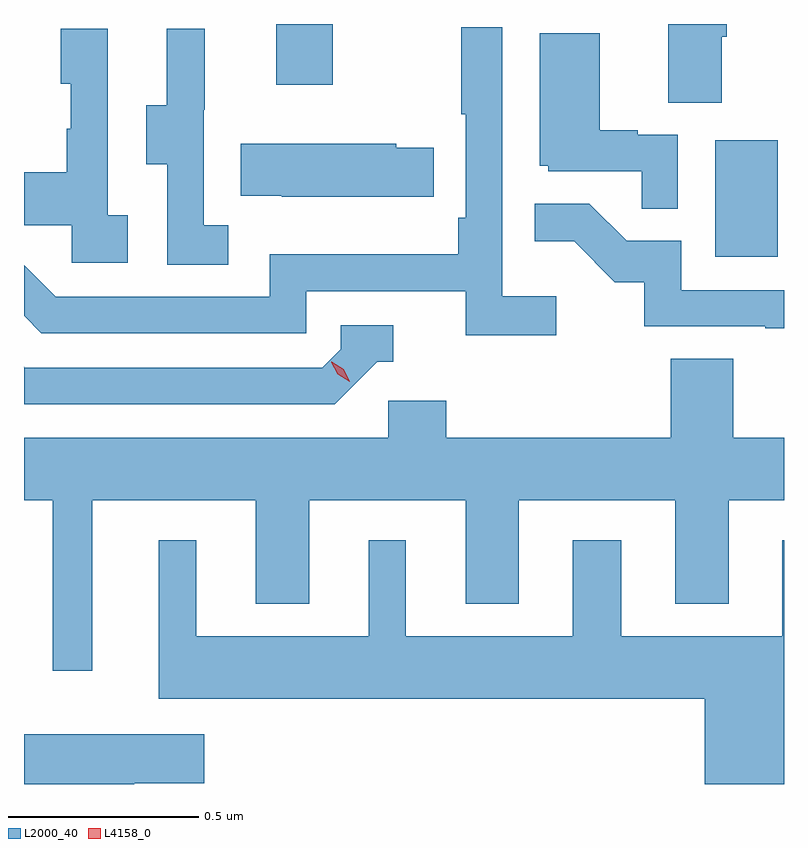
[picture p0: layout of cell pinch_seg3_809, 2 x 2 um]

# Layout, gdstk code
import gdstk
lib = gdstk.Library(unit=1e-6, precision=1e-09)
def R(c, l, rs):  # rectangles x0, y0, x1, y1
    for r in rs: c.add(gdstk.rectangle(r[:2], r[2:], *l))
def P(c, l, *ps):  # polygons
    for p in ps: c.add(gdstk.Polygon(p, *l))
L2000_40 = (2000, 40)
L4158_0 = (4158, 0)

pinch_seg3_809 = lib.new_cell('pinch_seg3_809')
R(pinch_seg3_809, L2000_40, [(850.454,717.54,850.618,717.847), (849.299,717.993,849.447,718.153)])
P(pinch_seg3_809, L2000_40, [(850.471,718.12),(850.484,718.12),(850.484,718.153),(850.331,718.153),(850.331,717.946),(850.471,717.946)],
  [(850.036,717.436),(849.894,717.436),(849.894,718.144),(849.786,718.144),(849.786,717.916),(849.798,717.916),(849.798,717.643),(849.778,717.643),(849.778,717.547),(849.282,717.547),(849.282,717.435),(848.718,717.435),(848.635,717.518),(848.635,717.385),(848.681,717.339),(849.378,717.339),(849.378,717.45),(849.797,717.45),(849.797,717.334),(850.036,717.334)],
  [(849.172,717.623),(849.108,717.623),(849.108,717.927),(849.11,717.927),(849.11,718.141),(849.011,718.141),(849.011,717.939),(848.957,717.939),(848.957,717.784),(849.012,717.784),(849.012,717.52),(849.172,717.52)],
  [(848.908,717.65),(848.856,717.65),(848.856,718.141),(848.732,718.141),(848.732,717.996),(848.758,717.996),(848.758,717.878),(848.748,717.878),(848.748,717.763),(848.635,717.763),(848.635,717.623),(848.76,717.623),(848.76,717.525),(848.908,717.525)],
  [(850.356,717.861),(850.25,717.861),(850.25,717.874),(850.15,717.874),(850.15,718.129),(849.992,718.129),(849.992,717.78),(850.014,717.78),(850.014,717.765),(850.261,717.765),(850.261,717.667),(850.356,717.667)],
  [(849.713,717.828),(849.615,717.828),(849.615,717.838),(849.205,717.838),(849.205,717.701),(849.313,717.701),(849.313,717.698),(849.713,717.698)],
  [(850.635,717.453),(850.365,717.453),(850.365,717.582),(850.221,717.582),(850.123,717.68),(849.979,717.68),(849.979,717.581),(850.083,717.581),(850.19,717.474),(850.267,717.474),(850.267,717.357),(850.585,717.357),(850.585,717.352),(850.635,717.352)],
  [(849.564,717.264),(849.607,717.264),(849.607,717.36),(849.468,717.36),(849.468,717.297),(849.42,717.249),(848.637,717.249),(848.635,717.251),(848.635,717.153),(849.453,717.153)],
  [(848.635,716.9),(848.711,716.9),(848.711,716.451),(848.815,716.451),(848.815,716.9),(849.245,716.9),(849.245,716.627),(849.385,716.627),(849.385,716.9),(849.797,716.9),(849.797,716.627),(849.937,716.627),(849.937,716.9),(850.349,716.9),(850.349,716.627),(850.489,716.627),(850.489,716.9),(850.635,716.9),(850.635,717.064),(850.502,717.064),(850.502,717.272),(850.337,717.272),(850.337,717.064),(849.746,717.064),(849.746,717.162),(849.594,717.162),(849.594,717.064),(848.635,717.064)],
  [(850.635,716.794),(850.631,716.794),(850.631,716.542),(850.207,716.542),(850.207,716.794),(850.079,716.794),(850.079,716.542),(849.64,716.542),(849.64,716.794),(849.542,716.794),(849.542,716.542),(849.088,716.542),(849.088,716.794),(848.99,716.794),(848.99,716.378),(850.427,716.378),(850.427,716.153),(850.635,716.153)],
  [(848.925,716.155),(849.109,716.155),(849.109,716.284),(848.635,716.284),(848.635,716.153),(848.925,716.153)])
P(pinch_seg3_809, L4158_0, [(849.492,717.211),(849.461,717.231),(849.444,717.263),(849.444,717.264),(849.445,717.264),(849.476,717.244),(849.492,717.212),(849.492,717.211)])

lib.write_gds('pinch_seg3_809.gds')
